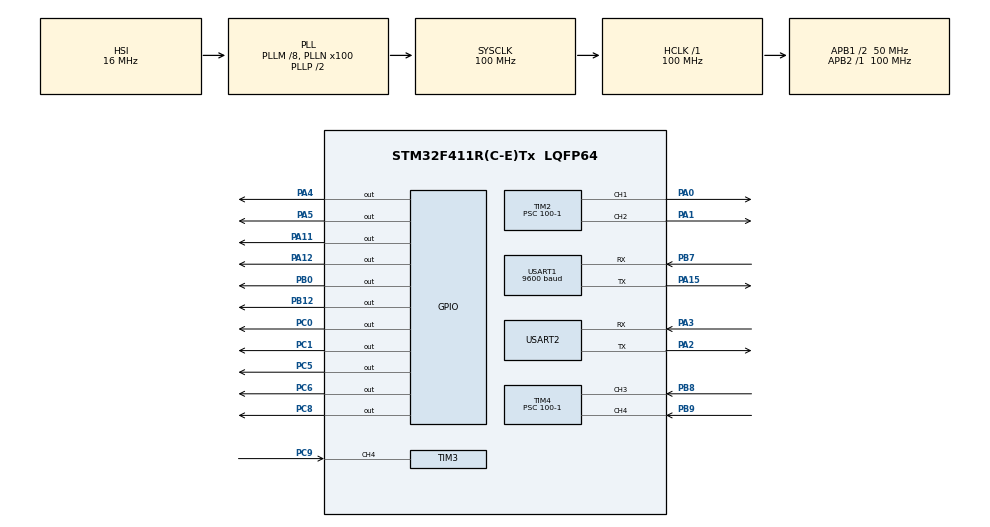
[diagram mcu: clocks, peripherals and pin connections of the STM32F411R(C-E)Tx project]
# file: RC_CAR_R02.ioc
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Mcu.Family=STM32F4
Mcu.Name=STM32F411R(C-E)Tx
Mcu.Package=LQFP64
NVIC.PriorityGroup=NVIC_PRIORITYGROUP_4
NVIC.TIM3_IRQn=true\:0\:0\:false\:false\:true\:true\:true\:true
NVIC.TIM4_IRQn=true\:0\:0\:false\:false\:true\:true\:true\:true
NVIC.USART1_IRQn=true\:0\:0\:false\:false\:true\:true\:true\:true
NVIC.USART2_IRQn=true\:0\:0\:false\:false\:true\:true\:true\:true
PA0-WKUP.Signal=S_TIM2_CH1_ETR
PA1.Signal=S_TIM2_CH2
PA11.Signal=GPIO_Output
PA12.Signal=GPIO_Output
PA13.Mode=Serial_Wire
PA13.Signal=SYS_JTMS-SWDIO
PA14.Mode=Serial_Wire
PA14.Signal=SYS_JTCK-SWCLK
PA15.Mode=Asynchronous
PA15.Signal=USART1_TX
PA2.Mode=Asynchronous
PA2.Signal=USART2_TX
PA3.Mode=Asynchronous
PA3.Signal=USART2_RX
PA4.Signal=GPIO_Output
PA5.Signal=GPIO_Output
PB0.Signal=GPIO_Output
PB12.Signal=GPIO_Output
PB7.Mode=Asynchronous
PB7.Signal=USART1_RX
PB8.Signal=S_TIM4_CH3
PB9.Signal=S_TIM4_CH4
PC0.Signal=GPIO_Output
PC1.Signal=GPIO_Output
PC5.Signal=GPIO_Output
PC6.Signal=GPIO_Output
PC8.Signal=GPIO_Output
PC9.Signal=S_TIM3_CH4
ProjectManager.HeapSize=0x200
ProjectManager.StackSize=0x400
ProjectManager.TargetToolchain=STM32CubeIDE
RCC.48MHZClocksFreq_Value=50000000
RCC.AHBFreq_Value=100000000
RCC.APB1CLKDivider=RCC_HCLK_DIV2
RCC.APB1Freq_Value=50000000
RCC.APB1TimFreq_Value=100000000
RCC.APB2Freq_Value=100000000
RCC.APB2TimFreq_Value=100000000
RCC.CortexFreq_Value=100000000
RCC.HCLKFreq_Value=100000000
RCC.HSE_VALUE=8000000
RCC.HSI_VALUE=16000000
RCC.LSE_VALUE=32768
RCC.PLLM=8
RCC.PLLN=100
RCC.SYSCLKFreq_VALUE=100000000
RCC.SYSCLKSource=RCC_SYSCLKSOURCE_PLLCLK
RCC.VCOOutputFreq_Value=200000000
SH.S_TIM2_CH1_ETR.0=TIM2_CH1,PWM Generation1 CH1
SH.S_TIM2_CH2.0=TIM2_CH2,PWM Generation2 CH2
SH.S_TIM3_CH4.0=TIM3_CH4,Input_Capture4_from_TI4
SH.S_TIM4_CH3.0=TIM4_CH3,Input_Capture3_from_TI3
SH.S_TIM4_CH4.0=TIM4_CH4,Input_Capture4_from_TI4
TIM11.Prescaler=100-1
TIM2.Channel-PWM\ Generation1\ CH1=TIM_CHANNEL_1
TIM2.Channel-PWM\ Generation2\ CH2=TIM_CHANNEL_2
TIM2.Period=1000-1
TIM2.Prescaler=100-1
TIM3.Channel-Input_Capture4_from_TI4=TIM_CHANNEL_4
TIM3.ICFilter_CH4=4
TIM3.Prescaler=100-1
TIM4.Channel-Input_Capture3_from_TI3=TIM_CHANNEL_3
TIM4.Channel-Input_Capture4_from_TI4=TIM_CHANNEL_4
TIM4.ICFilter_CH3=4
TIM4.Prescaler=100-1
USART1.BaudRate=9600
USART1.VirtualMode=VM_ASYNC
USART2.VirtualMode=VM_ASYNC
VP_TIM11_VS_ClockSourceINT.Mode=Enable_Timer
VP_TIM2_VS_ClockSourceINT.Mode=Internal
board=custom

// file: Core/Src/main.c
/* USER CODE BEGIN Header */
/**
  ******************************************************************************
  * @file           : main.c
  * @brief          : Main program body
  ******************************************************************************
  * @attention
  *
  * Copyright (c) 2026 STMicroelectronics.
  * All rights reserved.
  *
  * This software is licensed under terms that can be found in the LICENSE file
  * in the root directory of this software component.
  * If no LICENSE file comes with this software, it is provided AS-IS.
  *
  ******************************************************************************
  */
/* USER CODE END Header */
#include "main.h"
#include "tim.h"
#include "usart.h"
#include "gpio.h"

/* USER CODE BEGIN Includes */

#include "car.h"
#include "direction.h"
#include "speed.h"
#include "delay.h"
#include "stdio.h"
//#include "ledbar.h"
#include "ultrasonic.h"
#include "statemachine.h"

/* USER CODE END Includes */

/* USER CODE BEGIN PM */

#ifdef __GNUC__
/* With GCC small printf (option LD Linker->Libraries->Small printf
 * set to 'Yes') calls __io_putchar() */
#define PUTCHAR_PROTOTYPE int  __io_putchar(int ch)
#else
#define PUTCHAR_PROTOTYPE int  fputc(int ch, FILE *f)
#endif /* __GNUC__*/

/** @brief Retargets the C library printf function to the USART.
 *  @param None
 *  @retval None
 */
PUTCHAR_PROTOTYPE
{
  /* Place your implementation of fputc here */
  /* e.g. write a character to the USART2 and Loop
     until the end of transmission */
  if(ch == '\n')
  {
	  HAL_UART_Transmit(&huart2, (uint8_t*) "\r", 1, 0xFFFF);
  }
   HAL_UART_Transmit(&huart2, (uint8_t*) &ch, 1, 0xFFFF);\
   return ch;
}

/* USER CODE END PM */

/* USER CODE BEGIN PV */

//
//volatile uint8_t rxData[1];
//volatile uint8_t rxFlag = 0;
//volatile uint8_t rxCmd = 0;

/* USER CODE END PV */

void SystemClock_Config(void);
/* USER CODE BEGIN PFP */

//
//void HAL_TIM_IC_CaptureCallback(TIM_HandleTypeDef *htim)
//{
//
//  Ultrasonic_IC_CaptureCallback(htim);
//}

/* USER CODE END PFP */

int main(void)
{

  /* MCU Configuration--------------------------------------------------------*/

  /* Reset of all peripherals, Initializes the Flash interface and the Systick. */
  HAL_Init();

  /* Configure the system clock */
  SystemClock_Config();

  /* Initialize all configured peripherals */
  MX_GPIO_Init();
  MX_TIM2_Init();
  MX_USART2_UART_Init();
  MX_TIM3_Init();
  MX_TIM4_Init();
  MX_TIM11_Init();
  MX_USART1_UART_Init();
  /* USER CODE BEGIN 2 */

  STMACHINE_Init();

  HAL_TIM_Base_Start(&htim11);                  // for delay_us function

  /* USER CODE END 2 */

  /* Infinite loop */
  /* USER CODE BEGIN WHILE */

  while (1)
  {

//	  SHOW_UART2();

	  ST_MACHINE();

    /* USER CODE END WHILE */

  }
}

void SystemClock_Config(void)
{
  RCC_OscInitTypeDef RCC_OscInitStruct = {0};
  RCC_ClkInitTypeDef RCC_ClkInitStruct = {0};

  /** Configure the main internal regulator output voltage
  */
  __HAL_RCC_PWR_CLK_ENABLE();
  __HAL_PWR_VOLTAGESCALING_CONFIG(PWR_REGULATOR_VOLTAGE_SCALE1);

  /** Initializes the RCC Oscillators according to the specified parameters
  * in the RCC_OscInitTypeDef structure.
  */
  RCC_OscInitStruct.OscillatorType = RCC_OSCILLATORTYPE_HSI;
  RCC_OscInitStruct.HSIState = RCC_HSI_ON;
  RCC_OscInitStruct.HSICalibrationValue = RCC_HSICALIBRATION_DEFAULT;
  RCC_OscInitStruct.PLL.PLLState = RCC_PLL_ON;
  RCC_OscInitStruct.PLL.PLLSource = RCC_PLLSOURCE_HSI;
  RCC_OscInitStruct.PLL.PLLM = 8;
  RCC_OscInitStruct.PLL.PLLN = 100;
  RCC_OscInitStruct.PLL.PLLP = RCC_PLLP_DIV2;
  RCC_OscInitStruct.PLL.PLLQ = 4;
  if (HAL_RCC_OscConfig(&RCC_OscInitStruct) != HAL_OK)
  {
    Error_Handler();
  }

  /** Initializes the CPU, AHB and APB buses clocks
  */
  RCC_ClkInitStruct.ClockType = RCC_CLOCKTYPE_HCLK|RCC_CLOCKTYPE_SYSCLK
                              |RCC_CLOCKTYPE_PCLK1|RCC_CLOCKTYPE_PCLK2;
  RCC_ClkInitStruct.SYSCLKSource = RCC_SYSCLKSOURCE_PLLCLK;
  RCC_ClkInitStruct.AHBCLKDivider = RCC_SYSCLK_DIV1;
  RCC_ClkInitStruct.APB1CLKDivider = RCC_HCLK_DIV2;
  RCC_ClkInitStruct.APB2CLKDivider = RCC_HCLK_DIV1;

  if (HAL_RCC_ClockConfig(&RCC_ClkInitStruct, FLASH_LATENCY_3) != HAL_OK)
  {
    Error_Handler();
  }
}

void Error_Handler(void)
{
  __disable_irq();
  while (1)
  {
  }
}
